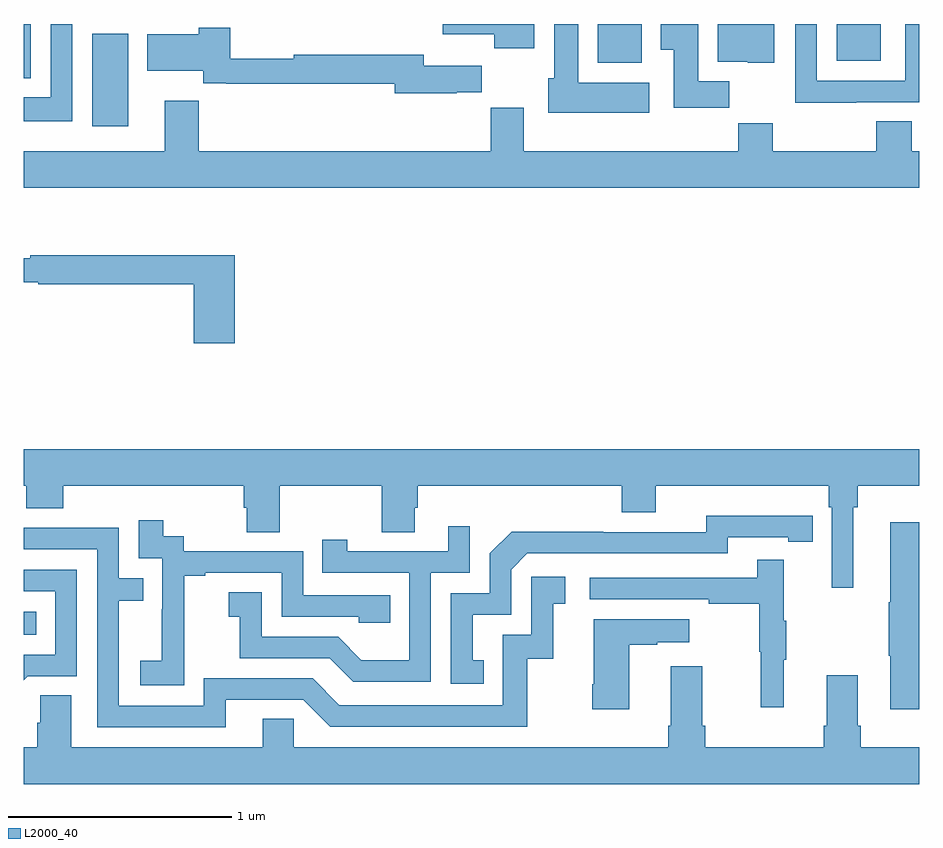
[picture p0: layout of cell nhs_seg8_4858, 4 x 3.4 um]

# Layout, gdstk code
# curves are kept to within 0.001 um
import gdstk
lib = gdstk.Library(unit=1e-6, precision=1e-09)
def R(c, l, rs):  # rectangles x0, y0, x1, y1
    for r in rs: c.add(gdstk.rectangle(r[:2], r[2:], *l))
def P(c, l, *ps):  # polygons
    for p in ps: c.add(gdstk.Polygon(p, *l))
L2000_40 = (2000, 40)

nhs_seg8_4858 = lib.new_cell('nhs_seg8_4858')
R(nhs_seg8_4858, L2000_40, [(405,1113.17,405.056,1113.274), (405.305,1115.442,405.466,1115.857), (405,1115.657,405.031,1115.9), (407.564,1115.726,407.761,1115.9), (408.632,1115.735,408.829,1115.9)])
P(nhs_seg8_4858, L2000_40, [(408.719,1115.55),(409,1115.55),(409,1115.9),(408.939,1115.9),(408.939,1115.646),(408.543,1115.646),(408.543,1115.9),(408.447,1115.9),(408.447,1115.549),(408.719,1115.549)],
  [(407.794,1115.638),(407.476,1115.638),(407.476,1115.9),(407.369,1115.9),(407.369,1115.658),(407.342,1115.658),(407.342,1115.504),(407.794,1115.504)],
  [(405.216,1115.9),(405.12,1115.9),(405.12,1115.572),(405,1115.572),(405,1115.465),(405.216,1115.465)],
  [(408.152,1115.644),(408.013,1115.644),(408.013,1115.9),(407.846,1115.9),(407.846,1115.785),(407.903,1115.785),(407.903,1115.526),(408.152,1115.526)],
  [(407.281,1115.9),(406.872,1115.9),(406.872,1115.855),(407.102,1115.855),(407.102,1115.792),(407.281,1115.792)],
  [(408.352,1115.9),(408.101,1115.9),(408.101,1115.732),(408.234,1115.732),(408.234,1115.726),(408.352,1115.726)],
  [(406.934,1115.595),(407.045,1115.595),(407.045,1115.713),(406.786,1115.713),(406.786,1115.762),(406.206,1115.762),(406.206,1115.745),(405.923,1115.745),(405.923,1115.884),(405.781,1115.884),(405.781,1115.854),(405.551,1115.854),(405.551,1115.69),(405.801,1115.69),(405.801,1115.635),(405.904,1115.635),(405.904,1115.634),(406.658,1115.634),(406.658,1115.591),(406.934,1115.591)],
  [(408.193,1115.456),(408.193,1115.332),(407.233,1115.332),(407.233,1115.525),(407.087,1115.525),(407.087,1115.332),(405.781,1115.332),(405.781,1115.557),(405.629,1115.557),(405.629,1115.332),(405,1115.332),(405,1115.168),(409,1115.168),(409,1115.332),(408.968,1115.332),(408.968,1115.465),(408.808,1115.465),(408.808,1115.332),(408.345,1115.332),(408.345,1115.456)],
  [(405.941,1114.867),(405.028,1114.867),(405.028,1114.854),(405,1114.854),(405,1114.746),(405.065,1114.746),(405.065,1114.738),(405.758,1114.738),(405.758,1114.473),(405.941,1114.473)],
  [(405,1113.836),(405.011,1113.836),(405.011,1113.737),(405.176,1113.737),(405.176,1113.836),(405.983,1113.836),(405.983,1113.738),(405.995,1113.738),(405.995,1113.628),(406.143,1113.628),(406.143,1113.836),(406.6,1113.836),(406.6,1113.628),(406.747,1113.628),(406.747,1113.738),(406.76,1113.738),(406.76,1113.836),(407.672,1113.836),(407.672,1113.719),(407.824,1113.719),(407.824,1113.836),(408.596,1113.836),(408.596,1113.74),(408.609,1113.74),(408.609,1113.381),(408.706,1113.381),(408.706,1113.74),(408.725,1113.74),(408.725,1113.836),(409,1113.836),(409,1114),(405,1114)],
  [(407.054,1113.057),(407.005,1113.057),(407.005,1113.261),(407.178,1113.261),(407.178,1113.462),(407.25,1113.534),(408.144,1113.534),(408.144,1113.606),(408.416,1113.606),(408.416,1113.586),(408.524,1113.586),(408.524,1113.702),(408.048,1113.703),(408.048,1113.63),(407.588,1113.63),(407.588,1113.632),(407.18,1113.632),(407.082,1113.534),(407.082,1113.357),(406.908,1113.357),(406.908,1112.952),(407.054,1112.952)],
  [(405.717,1113.151),(405.716,1113.151),(405.716,1113.435),(405.811,1113.435),(405.811,1113.447),(406.152,1113.447),(406.152,1113.252),(406.497,1113.252),(406.497,1113.225),(406.637,1113.225),(406.637,1113.348),(406.248,1113.348),(406.248,1113.543),(405.714,1113.543),(405.714,1113.612),(405.622,1113.612),(405.622,1113.682),(405.513,1113.682),(405.513,1113.513),(405.618,1113.513),(405.618,1113.284),(405.617,1113.284),(405.617,1113.055),(405.519,1113.055),(405.519,1112.945),(405.717,1112.945)],
  [(409,1113.673),(408.872,1113.673),(408.872,1113.317),(408.865,1113.317),(408.865,1113.076),(408.872,1113.076),(408.872,1112.838),(409,1112.838)],
  [(406.818,1113.447),(406.992,1113.447),(406.992,1113.655),(406.895,1113.655),(406.895,1113.543),(406.444,1113.543),(406.444,1113.595),(406.333,1113.595),(406.333,1113.447),(406.722,1113.447),(406.722,1113.058),(406.508,1113.058),(406.404,1113.162),(406.062,1113.162),(406.062,1113.361),(405.915,1113.361),(405.915,1113.251),(405.964,1113.251),(405.964,1113.066),(406.367,1113.066),(406.472,1112.961),(406.818,1112.961)],
  [(405.901,1112.88),(406.248,1112.88),(406.368,1112.76),(407.248,1112.76),(407.248,1113.063),(407.366,1113.063),(407.366,1113.309),(407.419,1113.309),(407.419,1113.43),(407.268,1113.43),(407.268,1113.171),(407.139,1113.171),(407.139,1112.856),(406.41,1112.856),(406.29,1112.976),(405.804,1112.976),(405.804,1112.853),(405.423,1112.853),(405.423,1113.322),(405.533,1113.322),(405.533,1113.423),(405.423,1113.423),(405.423,1113.648),(405,1113.648),(405,1113.552),(405.327,1113.552),(405.327,1112.757),(405.901,1112.757)],
  [(408.395,1113.059),(408.406,1113.059),(408.406,1113.233),(408.395,1113.233),(408.395,1113.505),(408.277,1113.505),(408.277,1113.426),(407.529,1113.426),(407.529,1113.33),(408.061,1113.33),(408.061,1113.31),(408.285,1113.31),(408.285,1113.096),(408.292,1113.096),(408.292,1112.847),(408.395,1112.847)],
  [(405.018,1112.985),(405.237,1112.985),(405.237,1113.462),(405,1113.462),(405,1113.366),(405.141,1113.366),(405.141,1113.081),(405,1113.081),(405,1112.967)],
  [(407.704,1113.127),(407.831,1113.127),(407.831,1113.137),(407.974,1113.137),(407.974,1113.241),(407.546,1113.241),(407.546,1112.95),(407.539,1112.95),(407.539,1112.838),(407.704,1112.838)],
  [(408.587,1112.989),(408.587,1112.764),(408.575,1112.764),(408.575,1112.668),(408.044,1112.668),(408.044,1112.764),(408.031,1112.764),(408.031,1113.031),(407.891,1113.031),(407.891,1112.764),(407.879,1112.764),(407.879,1112.668),(406.206,1112.668),(406.206,1112.795),(406.067,1112.795),(406.067,1112.668),(405.211,1112.668),(405.211,1112.9),(405.072,1112.9),(405.072,1112.777),(405.059,1112.777),(405.059,1112.668),(405,1112.668),(405,1112.504),(409,1112.504),(409,1112.668),(408.74,1112.668),(408.74,1112.764),(408.727,1112.764),(408.727,1112.989)])

lib.write_gds('nhs_seg8_4858.gds')
